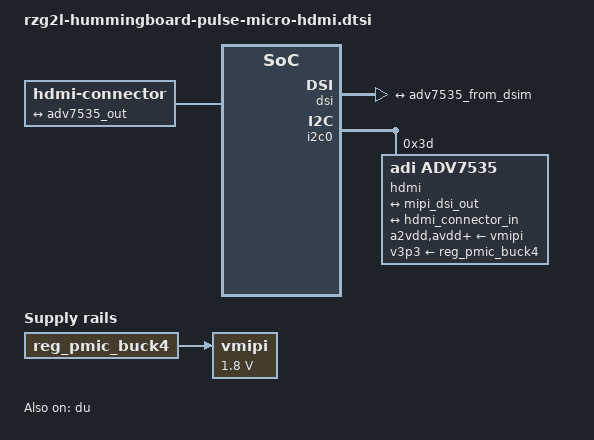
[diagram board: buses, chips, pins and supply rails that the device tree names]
// SPDX-License-Identifier: (GPL-2.0-only OR BSD-2-Clause)
/*
 * Copyright 2025 Josua Mayer <josua@solid-run.com>
 */

/ {
	hdmi-connector {
		compatible = "hdmi-connector";
		label = "hdmi";
		type = "d";

		port {
			hdmi_connector_in: endpoint {
				remote-endpoint = <&adv7535_out>;
			};
		};
	};

	vmipi: regulator-mipi-1-8 {
		compatible = "regulator-fixed";
		regulator-name = "vmipi";
		regulator-always-on;
		regulator-max-microvolt = <1800000>;
		regulator-min-microvolt = <1800000>;
		vin-supply = <&reg_pmic_buck4>;
	};
};

&dsi {
	status = "okay";

	ports {
		port@1 {
			mipi_dsi_out: endpoint {
				data-lanes = <1 2 3 4>;
				remote-endpoint = <&adv7535_from_dsim>;
			};
		};
	};
};

&du {
	status = "okay";
};

&i2c0 {
	hdmi: hdmi@3d {
		compatible = "adi,adv7535";
		reg = <0x3d>, <0x3f>, <0x3c>, <0x38>;
		reg-names = "main", "edid", "cec", "packet";
		a2vdd-supply = <&vmipi>;
		avdd-supply = <&vmipi>;
		dvdd-supply = <&vmipi>;
		pvdd-supply = <&vmipi>;
		v3p3-supply = <&reg_pmic_buck4>;
		adi,dsi-lanes = <4>;

		ports {
			#address-cells = <1>;
			#size-cells = <0>;

			port@0 {
				reg = <0>;

				adv7535_from_dsim: endpoint {
					remote-endpoint = <&mipi_dsi_out>;
				};
			};

			port@1 {
				reg = <1>;

				adv7535_out: endpoint {
					remote-endpoint = <&hdmi_connector_in>;
				};
			};
		};
	};
};
